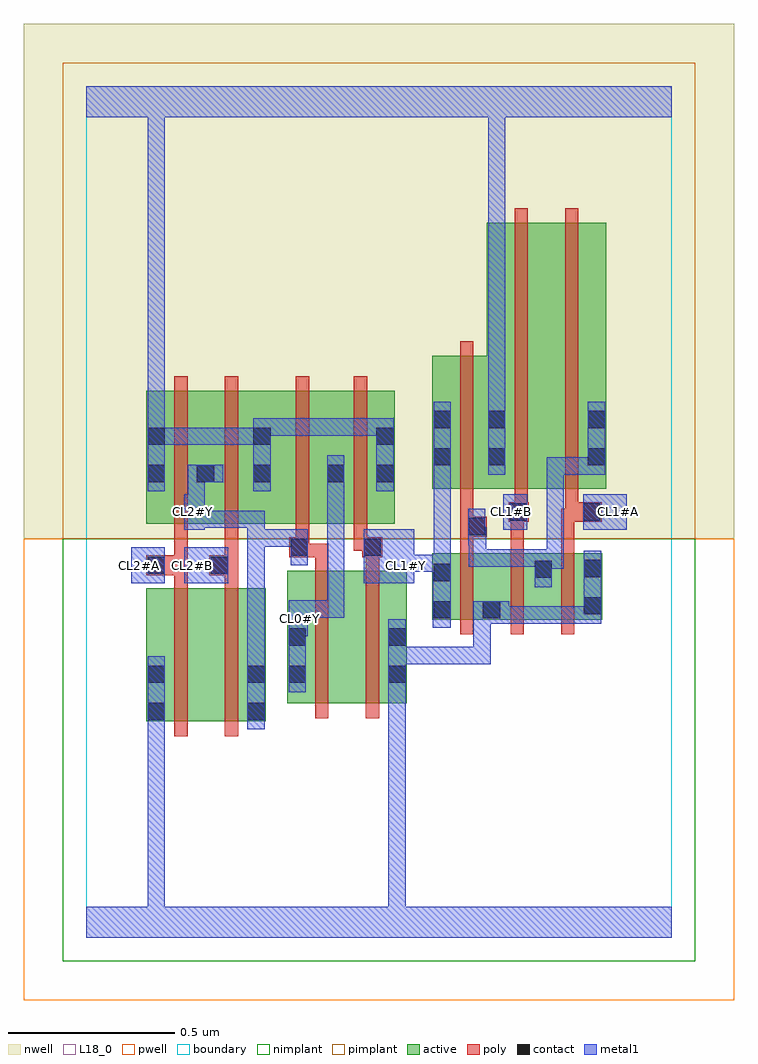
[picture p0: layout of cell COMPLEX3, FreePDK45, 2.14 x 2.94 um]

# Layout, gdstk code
import gdstk
lib = gdstk.Library(unit=1e-6, precision=1e-09)
def R(c, l, rs):  # rectangles x0, y0, x1, y1
    for r in rs: c.add(gdstk.rectangle(r[:2], r[2:], *l))
def A(c, l, x, y, w, h, nx, ny, dx, dy):  # array of equal rectangles
    R(c, l, [(x+i*dx, y+j*dy, x+i*dx+w, y+j*dy+h) for i in range(nx) for j in range(ny)])
active = (1, 0)
pwell = (2, 0)
nwell = (3, 0)
nimplant = (4, 0)
pimplant = (5, 0)
poly = (9, 0)
contact = (10, 0)
metal1 = (11, 0)
L18_0 = (18, 0)
boundary = (235, 0)

complex3 = lib.new_cell('COMPLEX3')
R(complex3, active, [(0.18,0.65,0.24,1.05), (0.18,0.65,0.36,1.05), (0.36,0.65,0.54,1.05), (0.48,0.65,0.54,1.05), (0.604,0.704,0.664,1.104), (0.604,0.704,0.784,1.104), (0.784,0.704,0.964,1.104), (0.904,0.704,0.964,1.104), (1.04,0.956,1.1,1.156), (1.04,0.956,1.248,1.156), (1.188,0.956,1.404,1.156), (1.188,0.956,1.248,1.028), (1.344,0.956,1.552,1.156), (1.344,0.956,1.404,1.138), (1.492,0.956,1.552,1.156), (0.18,1.244,0.24,1.644), (0.18,1.244,0.388,1.644), (0.328,1.244,0.388,1.644), (0.328,1.244,0.558,1.644), (0.498,1.244,0.558,1.644), (0.498,1.244,0.78,1.644), (0.72,1.244,0.78,1.644), (0.72,1.244,0.928,1.644), (0.868,1.244,0.928,1.644), (1.04,1.35,1.264,1.75), (1.04,1.35,1.1,1.644), (1.204,1.35,1.384,2.15), (1.384,1.35,1.564,2.15), (1.504,1.35,1.564,2.044), (1.204,1.416,1.264,1.644)])
R(complex3, pwell, [(-0.188,-0.188,1.948,1.2)])
R(complex3, nwell, [(-0.188,1.2,1.948,2.748)])
R(complex3, nimplant, [(-0.072,-0.072,1.832,1.2)])
R(complex3, pimplant, [(-0.072,1.2,1.832,2.632)])
A(complex3, poly, 1.124, 0.912, 0.04, 0.288, 3, 1, 0.152, 0)
R(complex3, poly, [(0.264,0.606,0.304,1.094), (0.416,0.606,0.456,1.094), (0.688,0.66,0.728,1.148), (0.84,0.66,0.88,1.148), (0.264,1.054,0.304,1.13), (0.416,1.054,0.456,1.13), (0.18,1.09,0.304,1.15), (0.37,1.09,0.456,1.15), (0.688,1.108,0.728,1.184), (0.84,1.108,0.88,1.184), (0.264,1.11,0.304,1.15), (0.264,1.11,0.304,1.15), (0.264,1.11,0.304,1.24), (0.416,1.11,0.456,1.15), (0.416,1.11,0.456,1.15), (0.416,1.11,0.456,1.24), (0.61,1.144,0.67,1.204), (0.63,1.144,0.67,1.184), (0.63,1.144,0.728,1.184), (0.83,1.144,0.89,1.204), (1.124,1.16,1.164,1.246), (1.276,1.16,1.316,1.29), (1.428,1.16,1.468,1.29), (0.63,1.164,0.67,1.24), (0.804,1.164,0.844,1.24), (0.804,1.164,0.87,1.204), (0.83,1.164,0.87,1.204), (0.264,1.2,0.304,1.688), (0.416,1.2,0.456,1.688), (0.63,1.2,0.67,1.688), (0.804,1.2,0.844,1.688), (1.124,1.206,1.204,1.266), (1.124,1.226,1.164,1.266), (1.124,1.226,1.164,1.266), (1.124,1.226,1.164,1.346), (1.27,1.25,1.33,1.31), (1.276,1.25,1.316,1.29), (1.276,1.25,1.316,1.29), (1.428,1.25,1.48,1.29), (1.44,1.25,1.48,1.29), (1.44,1.25,1.55,1.31), (1.288,1.27,1.328,1.346), (1.44,1.27,1.48,1.346), (1.124,1.306,1.164,1.794), (1.288,1.306,1.328,2.194), (1.44,1.306,1.48,2.194)])
R(complex3, contact, [(0.184,0.654,0.236,0.706), (0.484,0.654,0.536,0.706), (0.184,0.766,0.236,0.818), (0.484,0.766,0.536,0.818), (0.608,0.766,0.66,0.818), (0.908,0.766,0.96,0.818), (0.608,0.878,0.66,0.93), (0.908,0.878,0.96,0.93), (1.044,0.96,1.096,1.012), (1.192,0.96,1.244,1.012), (1.496,0.972,1.548,1.024), (1.044,1.072,1.096,1.124), (1.348,1.082,1.4,1.134), (1.496,1.084,1.548,1.136), (0.184,1.094,0.236,1.146), (0.374,1.094,0.426,1.146), (0.614,1.148,0.666,1.2), (0.834,1.148,0.886,1.2), (1.148,1.21,1.2,1.262), (1.274,1.254,1.326,1.306), (1.494,1.254,1.546,1.306), (0.184,1.37,0.236,1.422), (0.332,1.37,0.384,1.422), (0.502,1.37,0.554,1.422), (0.724,1.37,0.776,1.422), (0.872,1.37,0.924,1.422), (1.044,1.42,1.096,1.472), (1.208,1.42,1.26,1.472), (1.508,1.42,1.56,1.472), (0.184,1.482,0.236,1.534), (0.502,1.482,0.554,1.534), (0.872,1.482,0.924,1.534), (1.044,1.532,1.096,1.584), (1.208,1.532,1.26,1.584), (1.508,1.532,1.56,1.584)])
R(complex3, metal1, [(0,0,1.76,0.092), (0.184,0.04,0.236,0.678), (0.908,0.04,0.96,0.092), (0.908,0.04,0.96,0.092), (0.908,0.04,0.96,0.092), (0.908,0.04,0.96,0.092), (0.908,0.04,0.96,0.092), (0.908,0.04,0.96,0.092), (0.908,0.04,0.96,0.092), (0.908,0.04,0.96,0.092), (0.908,0.04,0.96,0.092), (0.908,0.04,0.96,0.092), (0.908,0.04,0.96,0.092), (0.908,0.04,0.96,0.092), (0.908,0.04,0.96,0.79), (0.184,0.626,0.236,0.678), (0.184,0.626,0.236,0.678), (0.184,0.626,0.236,0.678), (0.184,0.626,0.236,0.678), (0.184,0.626,0.236,0.678), (0.184,0.626,0.236,0.678), (0.184,0.626,0.236,0.678), (0.184,0.626,0.236,0.678), (0.184,0.626,0.236,0.678), (0.184,0.626,0.236,0.678), (0.184,0.626,0.236,0.678), (0.184,0.626,0.236,0.678), (0.184,0.626,0.236,0.846), (0.484,0.626,0.536,0.846), (0.608,0.738,0.66,0.958), (0.908,0.738,0.96,0.958), (0.484,0.794,0.536,0.846), (0.484,0.794,0.536,0.846), (0.484,0.794,0.536,1.228), (0.908,0.822,1.094,0.874), (1.042,0.822,1.094,0.874), (1.042,0.822,1.15,0.874), (1.098,0.822,1.15,0.874), (1.098,0.822,1.216,0.874), (1.164,0.822,1.216,0.874), (1.164,0.822,1.216,0.874), (1.164,0.822,1.216,0.874), (1.164,0.822,1.216,0.996), (0.608,0.906,0.66,0.958), (0.608,0.906,0.666,1.014), (1.042,0.932,1.096,1.152), (1.164,0.944,1.272,1.012), (1.22,0.944,1.382,0.996), (1.33,0.944,1.382,0.996), (1.33,0.944,1.382,0.996), (1.33,0.944,1.382,0.996), (1.33,0.944,1.548,0.996), (1.496,0.944,1.548,0.996), (1.496,0.944,1.548,0.996), (1.496,0.944,1.548,1.164), (0.614,0.962,0.776,1.014), (0.724,0.962,0.776,1.014), (0.724,0.962,0.776,1.014), (0.724,0.962,0.776,1.014), (0.724,0.962,0.776,1.394), (1.348,1.054,1.4,1.162), (0.134,1.066,0.236,1.174), (0.294,1.066,0.426,1.174), (0.834,1.066,0.986,1.228), (0.934,1.1,0.986,1.152), (0.934,1.1,0.986,1.152), (0.934,1.1,1.094,1.152), (1.042,1.1,1.094,1.152), (1.042,1.1,1.094,1.152), (1.042,1.1,1.094,1.152), (1.042,1.1,1.096,1.152), (1.044,1.1,1.096,1.444), (1.348,1.11,1.4,1.162), (1.348,1.11,1.436,1.168), (1.15,1.116,1.4,1.168), (1.15,1.116,1.202,1.234), (1.348,1.116,1.4,1.168), (1.348,1.116,1.4,1.168), (1.384,1.116,1.436,1.444), (0.614,1.12,0.666,1.228), (0.484,1.176,0.536,1.228), (0.484,1.176,0.536,1.228), (0.484,1.176,0.536,1.284), (0.484,1.176,0.666,1.228), (1.148,1.182,1.2,1.29), (1.148,1.182,1.202,1.234), (0.294,1.226,0.356,1.334), (1.254,1.226,1.326,1.334), (1.494,1.226,1.626,1.334), (0.304,1.232,0.356,1.284), (0.304,1.232,0.356,1.284), (0.304,1.232,0.536,1.284), (0.304,1.282,0.356,1.422), (0.184,1.342,0.236,1.562), (0.502,1.342,0.554,1.562), (0.724,1.342,0.776,1.394), (0.724,1.342,0.776,1.394), (0.724,1.342,0.776,1.45), (0.872,1.342,0.924,1.562), (0.304,1.37,0.412,1.422), (1.044,1.392,1.096,1.612), (1.208,1.392,1.26,1.612), (1.384,1.392,1.436,1.444), (1.384,1.392,1.436,1.444), (1.384,1.392,1.436,1.444), (1.384,1.392,1.56,1.444), (1.508,1.392,1.56,1.444), (1.508,1.392,1.56,1.444), (1.508,1.392,1.56,1.612), (0.184,1.482,0.236,1.534), (0.184,1.482,0.236,1.534), (0.184,1.482,0.346,1.534), (0.294,1.482,0.346,1.534), (0.294,1.482,0.346,1.534), (0.294,1.482,0.346,1.534), (0.294,1.482,0.554,1.534), (0.184,1.51,0.236,1.562), (0.184,1.51,0.236,1.562), (0.184,1.51,0.236,1.562), (0.184,1.51,0.236,1.562), (0.184,1.51,0.236,1.562), (0.184,1.51,0.236,1.562), (0.184,1.51,0.236,2.52), (0.502,1.51,0.554,1.562), (0.502,1.51,0.554,1.562), (0.502,1.51,0.776,1.562), (0.724,1.51,0.776,1.562), (0.724,1.51,0.776,1.562), (0.724,1.51,0.776,1.562), (0.724,1.51,0.924,1.562), (0.872,1.51,0.924,1.562), (0.872,1.51,0.924,1.562), (1.208,1.56,1.26,2.52), (0,2.468,1.76,2.56), (0.184,2.468,0.236,2.52), (0.184,2.468,0.236,2.52), (0.184,2.468,0.236,2.52), (0.184,2.468,0.236,2.52), (0.184,2.468,0.236,2.52), (0.184,2.468,0.236,2.52), (0.184,2.468,0.236,2.52), (0.184,2.468,0.236,2.52), (0.184,2.468,0.236,2.52), (0.184,2.468,0.236,2.52), (1.208,2.468,1.26,2.52), (1.208,2.468,1.26,2.52), (1.208,2.468,1.26,2.52), (1.208,2.468,1.26,2.52), (1.208,2.468,1.26,2.52), (1.208,2.468,1.26,2.52), (1.208,2.468,1.26,2.52), (1.208,2.468,1.26,2.52)])
R(complex3, L18_0, [(0,0,1.76,0.092), (0.184,0.04,0.236,0.678), (0.908,0.04,0.96,0.092), (0.908,0.04,0.96,0.092), (0.908,0.04,0.96,0.092), (0.908,0.04,0.96,0.092), (0.908,0.04,0.96,0.092), (0.908,0.04,0.96,0.092), (0.908,0.04,0.96,0.092), (0.908,0.04,0.96,0.092), (0.908,0.04,0.96,0.092), (0.908,0.04,0.96,0.092), (0.908,0.04,0.96,0.092), (0.908,0.04,0.96,0.092), (0.908,0.04,0.96,0.79), (0.184,0.626,0.236,0.678), (0.184,0.626,0.236,0.678), (0.184,0.626,0.236,0.678), (0.184,0.626,0.236,0.678), (0.184,0.626,0.236,0.678), (0.184,0.626,0.236,0.678), (0.184,0.626,0.236,0.678), (0.184,0.626,0.236,0.678), (0.184,0.626,0.236,0.678), (0.184,0.626,0.236,0.678), (0.184,0.626,0.236,0.678), (0.184,0.626,0.236,0.678), (0.184,0.626,0.236,0.846), (0.484,0.626,0.536,0.846), (0.608,0.738,0.66,0.958), (0.908,0.738,0.96,0.958), (0.484,0.794,0.536,0.846), (0.484,0.794,0.536,0.846), (0.484,0.794,0.536,1.228), (0.908,0.822,1.094,0.874), (1.042,0.822,1.094,0.874), (1.042,0.822,1.15,0.874), (1.098,0.822,1.15,0.874), (1.098,0.822,1.216,0.874), (1.164,0.822,1.216,0.874), (1.164,0.822,1.216,0.874), (1.164,0.822,1.216,0.874), (1.164,0.822,1.216,0.996), (0.608,0.906,0.66,0.958), (0.608,0.906,0.666,1.014), (1.042,0.932,1.096,1.152), (0.614,0.934,0.666,0.986), (1.164,0.944,1.272,1.012), (1.22,0.944,1.382,0.996), (1.33,0.944,1.382,0.996), (1.33,0.944,1.382,0.996), (1.33,0.944,1.382,0.996), (1.33,0.944,1.548,0.996), (1.496,0.944,1.548,0.996), (1.496,0.944,1.548,0.996), (1.496,0.944,1.548,1.164), (0.614,0.962,0.776,1.014), (0.724,0.962,0.776,1.014), (0.724,0.962,0.776,1.014), (0.724,0.962,0.776,1.014), (0.724,0.962,0.776,1.394), (0.134,1.066,0.236,1.174), (0.294,1.066,0.426,1.174), (0.834,1.066,0.986,1.228), (0.134,1.094,0.186,1.146), (0.294,1.094,0.346,1.146), (0.934,1.094,0.986,1.146), (0.934,1.1,0.986,1.152), (0.934,1.1,0.986,1.152), (0.934,1.1,1.094,1.152), (1.042,1.1,1.094,1.152), (1.042,1.1,1.094,1.152), (1.042,1.1,1.094,1.152), (1.042,1.1,1.096,1.152), (1.044,1.1,1.096,1.444), (0.614,1.12,0.666,1.228), (0.484,1.176,0.536,1.228), (0.484,1.176,0.536,1.228), (0.484,1.176,0.536,1.284), (0.484,1.176,0.666,1.228), (0.294,1.226,0.356,1.334), (1.254,1.226,1.326,1.334), (1.494,1.226,1.626,1.334), (0.304,1.232,0.356,1.284), (0.304,1.232,0.356,1.284), (0.304,1.232,0.536,1.284), (0.294,1.254,0.346,1.306), (1.254,1.254,1.306,1.306), (1.574,1.254,1.626,1.306), (0.304,1.282,0.356,1.422), (0.184,1.342,0.236,1.562), (0.502,1.342,0.554,1.562), (0.724,1.342,0.776,1.394), (0.724,1.342,0.776,1.394), (0.724,1.342,0.776,1.45), (0.872,1.342,0.924,1.562), (0.304,1.37,0.412,1.422), (1.044,1.392,1.096,1.612), (1.208,1.392,1.26,1.612), (0.184,1.482,0.236,1.534), (0.184,1.482,0.236,1.534), (0.184,1.482,0.346,1.534), (0.294,1.482,0.346,1.534), (0.294,1.482,0.346,1.534), (0.294,1.482,0.346,1.534), (0.294,1.482,0.554,1.534), (0.184,1.51,0.236,1.562), (0.184,1.51,0.236,1.562), (0.184,1.51,0.236,1.562), (0.184,1.51,0.236,1.562), (0.184,1.51,0.236,1.562), (0.184,1.51,0.236,1.562), (0.184,1.51,0.236,2.52), (0.502,1.51,0.554,1.562), (0.502,1.51,0.554,1.562), (0.502,1.51,0.776,1.562), (0.724,1.51,0.776,1.562), (0.724,1.51,0.776,1.562), (0.724,1.51,0.776,1.562), (0.724,1.51,0.924,1.562), (0.872,1.51,0.924,1.562), (0.872,1.51,0.924,1.562), (1.208,1.56,1.26,2.52), (0,2.468,1.76,2.56), (0.184,2.468,0.236,2.52), (0.184,2.468,0.236,2.52), (0.184,2.468,0.236,2.52), (0.184,2.468,0.236,2.52), (0.184,2.468,0.236,2.52), (0.184,2.468,0.236,2.52), (0.184,2.468,0.236,2.52), (0.184,2.468,0.236,2.52), (0.184,2.468,0.236,2.52), (0.184,2.468,0.236,2.52), (1.208,2.468,1.26,2.52), (1.208,2.468,1.26,2.52), (1.208,2.468,1.26,2.52), (1.208,2.468,1.26,2.52), (1.208,2.468,1.26,2.52), (1.208,2.468,1.26,2.52), (1.208,2.468,1.26,2.52), (1.208,2.468,1.26,2.52)])
R(complex3, boundary, [(0,0,1.76,2.56)])
complex3.add(gdstk.Label('CL0#Y', (0.64,0.96), layer=11, texttype=0))
complex3.add(gdstk.Label('CL1#A', (1.6,1.28), layer=11, texttype=0))
complex3.add(gdstk.Label('CL1#B', (1.28,1.28), layer=11, texttype=0))
complex3.add(gdstk.Label('CL1#Y', (0.96,1.12), layer=11, texttype=0))
complex3.add(gdstk.Label('CL2#A', (0.16,1.12), layer=11, texttype=0))
complex3.add(gdstk.Label('CL2#B', (0.32,1.12), layer=11, texttype=0))
complex3.add(gdstk.Label('CL2#Y', (0.32,1.28), layer=11, texttype=0))

lib.write_gds('COMPLEX3.gds')
